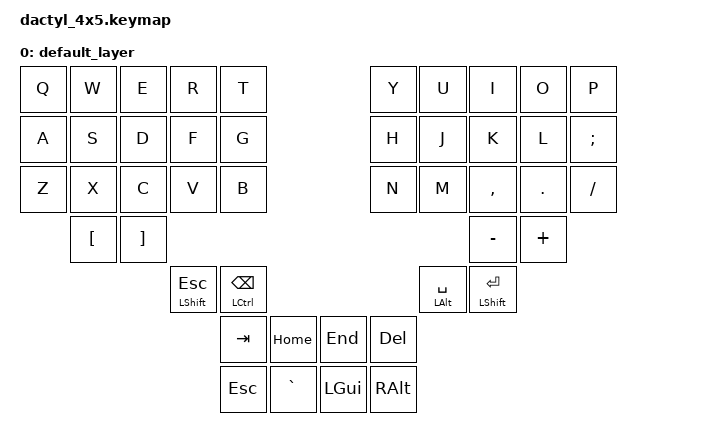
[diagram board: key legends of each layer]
#include <behaviors.dtsi>
#include <dt-bindings/zmk/keys.h>

/ {
    keymap {
        compatible = "zmk,keymap";

        default_layer {
// -------------------------------------------------------------------------------------------------------------------------
// |    Q    |    W    |    E    |    R    |    T    |                   |    Y    |    U    |    I    |    O    |    P    |
// |    A    |    S    |    D    |    F    |    G    |                   |    H    |    J    |    K    |    L    |    ;    |
// |    Z    |    X    |    C    |    V    |    B    |                   |    N    |    M    |    ,    |    .    |    /    |
//           |   GUI   |   DEL   |                                                           |   BSPC  |  R ALT  |
//                               |   GUI   |   DEL   |                   |   BSPC  |  R ALT  |
//                                         |   GUI   |   DEL   |   BSPC  |  R ALT  |
//                                         |   GUI   |   DEL   |   BSPC  |  R ALT  |
            bindings = <
    &kp Q     &kp W    &kp E     &kp R     &kp T                          &kp Y     &kp U     &kp I     &kp O     &kp P
    &kp A     &kp S    &kp D     &kp F     &kp G                          &kp H     &kp J     &kp K     &kp L     &kp SEMI
    &kp Z     &kp X    &kp C     &kp V     &kp B                          &kp N     &kp M     &kp COMMA &kp DOT   &kp FSLH
              &kp LBKT &kp RBKT                                                               &kp MINUS  &kp PLUS
                                 &mt LSHFT ESC &mt LCTRL BSPC                   &mt LALT SPACE &mt LSHFT ENTER
                                            &kp TAB  &kp HOME  &kp END    &kp DEL
                                            &kp ESC  &kp GRAVE &kp LGUI   &kp RALT
            >;
        };
    };
};
